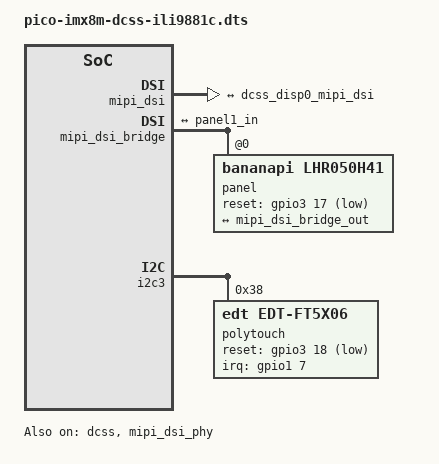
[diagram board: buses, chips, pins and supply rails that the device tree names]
/*
 * Copyright 2018 Technexion Ltd.
 * Copyright 2017 NXP
 *
 * Author: Richard Hu <richard.hu@technexion.com>
 *
 * This program is free software; you can redistribute it and/or
 * modify it under the terms of the GNU General Public License
 * as published by the Free Software Foundation; either version 2
 * of the License, or (at your option) any later version.
 *
 * This program is distributed in the hope that it will be useful,
 * but WITHOUT ANY WARRANTY; without even the implied warranty of
 * MERCHANTABILITY or FITNESS FOR A PARTICULAR PURPOSE.  See the
 * GNU General Public License for more details.
 */

#include "pico-imx8m.dts"

/ {
	backlight_mipi {
		status = "okay";
	};
};

&hdmi {
	status = "disabled";
};

&dcss {
	status = "okay";
	disp-dev = "mipi_disp";

	clocks = <&clk IMX8MQ_CLK_DISP_APB_ROOT>,
		 <&clk IMX8MQ_CLK_DISP_AXI_ROOT>,
		 <&clk IMX8MQ_CLK_DISP_RTRM_ROOT>,
		 <&clk IMX8MQ_CLK_DC_PIXEL>,
		 <&clk IMX8MQ_CLK_DUMMY>,
		 <&clk IMX8MQ_CLK_DISP_DTRC>;
	clock-names = "apb", "axi", "rtrm", "pix_div", "pix_out", "dtrc";

	assigned-clocks = <&clk IMX8MQ_CLK_DC_PIXEL>,
			  <&clk IMX8MQ_CLK_DISP_AXI>,
			  <&clk IMX8MQ_CLK_DISP_RTRM>,
			  <&clk IMX8MQ_VIDEO_PLL1_REF_SEL>,
			  <&clk IMX8MQ_VIDEO_PLL1>;
	assigned-clock-parents = <&clk IMX8MQ_VIDEO_PLL1_OUT>,
				 <&clk IMX8MQ_SYS1_PLL_800M>,
				 <&clk IMX8MQ_SYS1_PLL_800M>,
				 <&clk IMX8MQ_CLK_25M>;
	assigned-clock-rates = <600000000>,
			       <800000000>,
			       <0>,
			       <400000000>,
			       <599999999>;

	dcss_disp0: port@0 {
		reg = <0>;

		dcss_disp0_mipi_dsi: mipi_dsi {
			remote-endpoint = <&mipi_dsi_in>;
		};
	};
};

&mipi_dsi_phy {
	status = "okay";
};

&mipi_dsi {
	status = "okay";
	pwr-delay = <50>;
	best-match;
	assigned-clocks = <&clk IMX8MQ_CLK_DSI_PHY_REF>,
			  <&clk IMX8MQ_CLK_DSI_CORE>,
			  <&clk IMX8MQ_VIDEO_PLL1_REF_SEL>,
			  <&clk IMX8MQ_VIDEO_PLL1>;
	assigned-clock-parents = <&clk IMX8MQ_VIDEO_PLL1_OUT>,
				 <&clk IMX8MQ_SYS1_PLL_266M>,
				 <&clk IMX8MQ_CLK_25M>;
	assigned-clock-rates = <24000000>,
			       <266000000>,
			       <0>,
			       <599999999>;

	port@1 {
		mipi_dsi_in: endpoint {
			remote-endpoint = <&dcss_disp0_mipi_dsi>;
		};
	};

};

&mipi_dsi_bridge {
	status = "okay";

	panel@0 {
		compatible = "bananapi,lhr050h41", "ilitek,ili9881c";
		pinctrl-0 = <&pinctrl_mipi_dsi_rst>;
		reset-gpio = <&gpio3 17 GPIO_ACTIVE_LOW>;
		reg = <0>;
		dsi-lanes = <4>;
		port {
			panel1_in: endpoint {
				remote-endpoint = <&mipi_dsi_bridge_out>;
			};
		};
	};

	port@1 {
		mipi_dsi_bridge_out: endpoint {
			remote-endpoint = <&panel1_in>;
		};
	};
};

&i2c3 {
	polytouch: edt-ft5x06@38 {
		compatible = "edt,edt-ft5x06";
		reg = <0x38>;
		pinctrl-names = "default";
		pinctrl-0 = <&pinctrl_ft5336_touch_irq &pinctrl_ft5336_touch_rst>;
		interrupt-parent = <&gpio1>;
		interrupts = <7 IRQ_TYPE_EDGE_FALLING>;
		reset-gpios = <&gpio3 18 GPIO_ACTIVE_LOW>;
		touchscreen-size-x = <720>;
		touchscreen-size-y = <1280>;
	};
};
